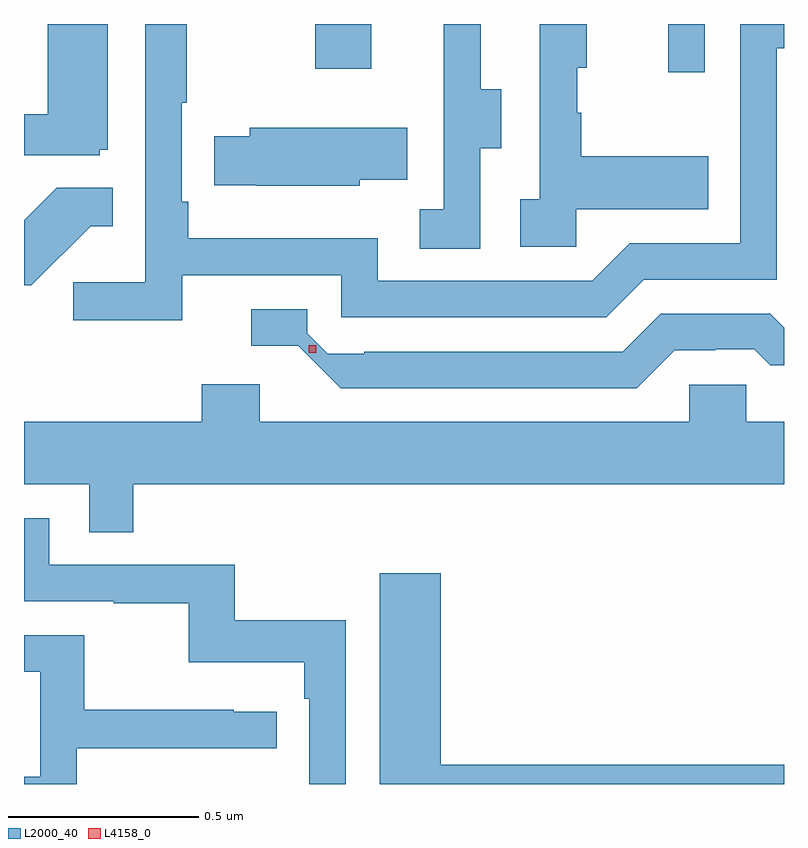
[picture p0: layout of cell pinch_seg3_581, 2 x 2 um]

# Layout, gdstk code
import gdstk
lib = gdstk.Library(unit=1e-6, precision=1e-09)
def R(c, l, rs):  # rectangles x0, y0, x1, y1
    for r in rs: c.add(gdstk.rectangle(r[:2], r[2:], *l))
def P(c, l, *ps):  # polygons
    for p in ps: c.add(gdstk.Polygon(p, *l))
L2000_40 = (2000, 40)
L4158_0 = (4158, 0)

pinch_seg3_581 = lib.new_cell('pinch_seg3_581')
R(pinch_seg3_581, L2000_40, [(1129.346,699.336,1129.443,699.463), (1128.418,699.345,1128.565,699.463)])
P(pinch_seg3_581, L2000_40, [(1129.104,698.975),(1129.451,698.975),(1129.451,699.115),(1129.117,699.115),(1129.117,699.23),(1129.107,699.23),(1129.107,699.348),(1129.132,699.348),(1129.132,699.463),(1129.008,699.463),(1129.008,699.002),(1128.957,699.002),(1128.957,698.877),(1129.104,698.877)],
  [(1128.068,698.802),(1128.486,698.802),(1128.486,698.691),(1129.183,698.691),(1129.282,698.79),(1129.632,698.79),(1129.632,699.399),(1129.651,699.399),(1129.651,699.463),(1129.536,699.463),(1129.536,698.886),(1129.245,698.886),(1129.146,698.787),(1128.582,698.787),(1128.582,698.899),(1128.083,698.899),(1128.083,698.995),(1128.066,698.995),(1128.066,699.256),(1128.079,699.256),(1128.079,699.463),(1127.97,699.463),(1127.97,698.784),(1127.78,698.784),(1127.78,698.684),(1128.068,698.684)],
  [(1127.85,699.132),(1127.872,699.132),(1127.872,699.463),(1127.714,699.463),(1127.714,699.226),(1127.651,699.226),(1127.651,699.117),(1127.85,699.117)],
  [(1128.852,699.136),(1128.907,699.136),(1128.907,699.291),(1128.853,699.291),(1128.853,699.463),(1128.755,699.463),(1128.755,699.279),(1128.756,699.279),(1128.756,698.975),(1128.693,698.975),(1128.693,698.872),(1128.852,698.872)],
  [(1128.534,699.053),(1128.659,699.053),(1128.659,699.19),(1128.245,699.19),(1128.245,699.168),(1128.151,699.168),(1128.151,699.039),(1128.262,699.039),(1128.262,699.038),(1128.534,699.038)],
  [(1127.826,698.931),(1127.885,698.931),(1127.885,699.032),(1127.737,699.032),(1127.651,698.946),(1127.651,698.776),(1127.67,698.776)],
  [(1129.363,698.604),(1129.47,698.604),(1129.47,698.607),(1129.573,698.607),(1129.615,698.565),(1129.651,698.565),(1129.651,698.664),(1129.615,698.7),(1129.326,698.7),(1129.227,698.601),(1128.547,698.601),(1128.547,698.595),(1128.45,698.595),(1128.396,698.649),(1128.396,698.712),(1128.249,698.712),(1128.249,698.616),(1128.373,698.616),(1128.484,698.505),(1129.264,698.505)],
  [(1127.939,698.252),(1129.651,698.252),(1129.651,698.416),(1129.551,698.416),(1129.551,698.514),(1129.401,698.514),(1129.401,698.416),(1128.271,698.416),(1128.271,698.515),(1128.119,698.515),(1128.119,698.416),(1127.651,698.416),(1127.651,698.252),(1127.823,698.252),(1127.823,698.125),(1127.939,698.125)],
  [(1128.498,697.894),(1128.205,697.894),(1128.205,698.04),(1127.718,698.04),(1127.718,698.163),(1127.651,698.163),(1127.651,697.944),(1127.887,697.944),(1127.887,697.939),(1128.084,697.939),(1128.084,697.784),(1128.389,697.784),(1128.389,697.688),(1128.402,697.688),(1128.402,697.463),(1128.498,697.463)],
  [(1129.651,697.514),(1128.748,697.514),(1128.748,698.017),(1128.587,698.017),(1128.587,697.463),(1129.651,697.463)],
  [(1127.79,697.557),(1128.316,697.557),(1128.316,697.653),(1128.203,697.653),(1128.203,697.658),(1127.81,697.658),(1127.81,697.854),(1127.651,697.854),(1127.651,697.758),(1127.694,697.758),(1127.694,697.482),(1127.651,697.482),(1127.651,697.463),(1127.79,697.463)])
R(pinch_seg3_581, L4158_0, [(1128.4,698.598,1128.42,698.618)])

lib.write_gds('pinch_seg3_581.gds')
